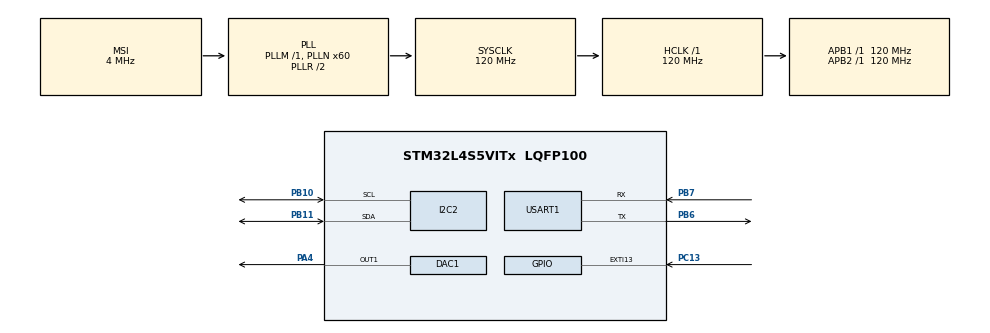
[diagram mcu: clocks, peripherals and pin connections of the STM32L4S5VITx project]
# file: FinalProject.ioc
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FREERTOS.Tasks01=defaultTask,0,128,StartDefaultTask,Default,NULL,Dynamic,NULL,NULL;myTask02,0,128,StartTask02,Default,NULL,Dynamic,NULL,NULL
I2C2.Timing=0x307075B1
Mcu.Family=STM32L4
Mcu.Name=STM32L4S5VITx
Mcu.Package=LQFP100
NVIC.EXTI15_10_IRQn=true\:5\:0\:false\:false\:true\:true\:true\:true\:true
NVIC.PriorityGroup=NVIC_PRIORITYGROUP_4
NVIC.TIM2_IRQn=true\:5\:0\:false\:false\:true\:true\:true\:true\:true
NVIC.TIM6_DAC_IRQn=true\:15\:0\:false\:false\:true\:false\:false\:true\:true
NVIC.TimeBase=TIM6_DAC_IRQn
NVIC.TimeBaseIP=TIM6
PA4.Signal=COMP_DAC11_group
PB10.Mode=I2C
PB10.Signal=I2C2_SCL
PB11.Mode=I2C
PB11.Signal=I2C2_SDA
PB6.Mode=Asynchronous
PB6.Signal=USART1_TX
PB7.Mode=Asynchronous
PB7.Signal=USART1_RX
PC13.Signal=GPXTI13
ProjectManager.HeapSize=0x200
ProjectManager.StackSize=0x400
ProjectManager.TargetToolchain=STM32CubeIDE
RCC.ADCFreq_Value=48000000
RCC.AHBFreq_Value=120000000
RCC.APB1Freq_Value=120000000
RCC.APB1TimFreq_Value=120000000
RCC.APB2Freq_Value=120000000
RCC.APB2TimFreq_Value=120000000
RCC.CortexFreq_Value=120000000
RCC.HCLKFreq_Value=120000000
RCC.HSE_VALUE=8000000
RCC.HSI48_VALUE=48000000
RCC.HSI_VALUE=16000000
RCC.LSE_VALUE=32768
RCC.MSI_VALUE=4000000
RCC.PLLN=60
RCC.PLLSAI1N=24
RCC.SYSCLKFreq_VALUE=120000000
RCC.SYSCLKSource=RCC_SYSCLKSOURCE_PLLCLK
RCC.USBFreq_Value=48000000
RCC.VCOOutputFreq_Value=240000000
SH.COMP_DAC11_group.0=DAC1_OUT1,DAC_OUT1
USART1.VirtualMode-Asynchronous=VM_ASYNC
VP_FREERTOS_VS_CMSIS_V1.Mode=CMSIS_V1
VP_OCTOSPI1_VS_quad.Mode=quad_mode
VP_SYS_VS_tim6.Mode=TIM6
VP_TIM2_VS_ClockSourceINT.Mode=Internal
board=B-L4S5I-IOT01A

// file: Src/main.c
/* USER CODE BEGIN Header */
/**
  ******************************************************************************
  * @file           : main.c
  * @brief          : Main program body
  ******************************************************************************
  * @attention
  *
  * Copyright (c) 2023 STMicroelectronics.
  * All rights reserved.
  *
  * This software is licensed under terms that can be found in the LICENSE file
  * in the root directory of this software component.
  * If no LICENSE file comes with this software, it is provided AS-IS.
  *
  ******************************************************************************
  */
/* USER CODE END Header */
#include "main.h"
#include "cmsis_os.h"

/* USER CODE BEGIN Includes */
#include "stm32l4s5i_iot01_accelero.h"
#include "stm32l4s5i_iot01_qspi.h"

#include "math.h"
#include <stdio.h>
#include <stdlib.h>
#define ARM_MATH_CM4
#include "arm_math.h"
/* USER CODE END Includes */

DAC_HandleTypeDef hdac1;

I2C_HandleTypeDef hi2c2;

OSPI_HandleTypeDef hospi1;

TIM_HandleTypeDef htim2;

UART_HandleTypeDef huart1;

osThreadId defaultTaskHandle;
osThreadId myTask02Handle;
/* USER CODE BEGIN PV */
char str_tmp[300];
int16_t accel[3];
int noteplayed = 1;

int note_selector = 3;
int sound_wave_input = 0;
int e6 = 0;
int g6 = 0;
int c6 = 0;

float array[] = {
		384.87,
		432.00,
		484.90,
		513.74, // C
		576.65,
		647.27,
		685.76,
		769.74,
		864.00,
		969.81,
		1027.47,
		1153.30,
		1294.54,
		1371.51,
		1539.47,
		1728.00,
		1939.61,
		2054.95,
		2306.60,
		2589.07,
		2743.03,
		3078.95,
		3456.00,
		3879.23,
		4109.90,
		4613.21,
		5178.15,
		5486.06
};

int volume[] = {0, 2000, 3000, 4095};
int volume_selector = 3;
/* USER CODE END PV */

void SystemClock_Config(void);
static void MX_GPIO_Init(void);
static void MX_I2C2_Init(void);
static void MX_USART1_UART_Init(void);
static void MX_DAC1_Init(void);
static void MX_TIM2_Init(void);
static void MX_OCTOSPI1_Init(void);
void StartDefaultTask(void const * argument);
void StartTask02(void const * argument);

int main(void)
{

  /* MCU Configuration--------------------------------------------------------*/

  /* Reset of all peripherals, Initializes the Flash interface and the Systick. */
  HAL_Init();

  /* Configure the system clock */
  SystemClock_Config();

  /* Initialize all configured peripherals */
  MX_GPIO_Init();
  MX_I2C2_Init();
  MX_USART1_UART_Init();
  MX_DAC1_Init();
  MX_TIM2_Init();
  MX_OCTOSPI1_Init();
  /* USER CODE BEGIN 2 */
  BSP_ACCELERO_Init();
  HAL_DAC_Start(&hdac1, DAC_CHANNEL_1);
  HAL_DAC_SetValue(&hdac1, DAC_CHANNEL_1, DAC_ALIGN_12B_R, 2000);
  HAL_TIM_Base_Start_IT(&htim2);
  BSP_QSPI_Init();
//  BSP_QSPI_EraseChip();

  /* USER CODE END 2 */

  /* Create the thread(s) */
  /* definition and creation of defaultTask */
  osThreadDef(defaultTask, StartDefaultTask, osPriorityNormal, 0, 128);
  defaultTaskHandle = osThreadCreate(osThread(defaultTask), NULL);

  /* definition and creation of myTask02 */
  osThreadDef(myTask02, StartTask02, osPriorityNormal, 0, 128);
  myTask02Handle = osThreadCreate(osThread(myTask02), NULL);

  /* Start scheduler */
  osKernelStart();

  /* We should never get here as control is now taken by the scheduler */
  /* Infinite loop */
  while (1)
  {

    /* USER CODE BEGIN 3 */
//	  int thres = 600;
//	  int delay = 500;
//
//	  int16_t accel[3];
//	  BSP_ACCELERO_AccGetXYZ(accel);
////	  sprintf(str_tmp, "%d,  %d,  %d \n \r", (int) accel[0], (int)accel[1], 1020-(int)accel[2]);
//	  if ((int) accel[0] > thres) {
//		  if (note_selector < 31){
//			  note_selector += 1;
//		  }
//		  sprintf(str_tmp, "X-RIGHT NOTE:%d \n \r", note_selector);
//		  HAL_UART_Transmit(&huart1, (uint8_t *)str_tmp, sizeof(str_tmp),10000);
//		  HAL_Delay(delay);
//	  }
//
//	  if ((int) accel[0] < -thres) {
//	  		  if (note_selector > 0){
//				note_selector -= 1;
//	  		  }
//	  		  sprintf(str_tmp, "X-LEFT NOTE:%d\n \r", note_selector);
//	  		  HAL_UART_Transmit(&huart1, (uint8_t *)str_tmp, sizeof(str_tmp),10000);
//	  		HAL_Delay(delay);
//	  	  }
//
//	  if ((int) accel[1] > thres) {
//	  		  if (note_selector + 7 < 30) {
//	  			  note_selector += 7;
//	  		  }
//	  		  sprintf(str_tmp, "Y_FOWARD NOTE:%d\n \r", note_selector);
//	  		HAL_UART_Transmit(&huart1, (uint8_t *)str_tmp, sizeof(str_tmp),10000);
//	  		HAL_Delay(delay);
//	  	  }
//	  if ((int) accel[1] < -thres) {
//	  	  		if (note_selector - 7 > 0) {
//	  	  		note_selector -= 7;
//	  	  			  		  }
//	  	  		  sprintf(str_tmp, "Y_BACK NOTE:%d\n \r", note_selector);
//	  	  		HAL_UART_Transmit(&huart1, (uint8_t *)str_tmp, sizeof(str_tmp),10000);
//	  	  	HAL_Delay(delay);
//	  	  	  }
//	  if ((int) accel[2] > 1000+thres) {
//	  		if (volume_selector < 3){
//
//	  			volume_selector += 1;
//	  				  }
//
//	  		  sprintf(str_tmp, "Z_UP NOTE:%d\n \r", volume_selector);
//	  		HAL_UART_Transmit(&huart1, (uint8_t *)str_tmp, sizeof(str_tmp),10000);
//	  		HAL_Delay(delay);
//	  	  }
//	  if ((int) accel[2] < 1000-thres) {
//		  if (volume_selector > 0){
//
//		  	  			volume_selector -= 1;
//		  	  				  }
//
//		  sprintf(str_tmp, "Z_DOWN NOTE:%d\n \r", volume_selector);
//	  	  		HAL_UART_Transmit(&huart1, (uint8_t *)str_tmp, sizeof(str_tmp),10000);
//	  	  	HAL_Delay(delay);
//	  	  	  }
//
//	  memset(str_tmp,0,sizeof(str_tmp));
//
	  HAL_Delay(10000);
  }
  /* USER CODE END 3 */
}

void SystemClock_Config(void)
{
  RCC_OscInitTypeDef RCC_OscInitStruct = {0};
  RCC_ClkInitTypeDef RCC_ClkInitStruct = {0};

  /** Configure the main internal regulator output voltage
  */
  if (HAL_PWREx_ControlVoltageScaling(PWR_REGULATOR_VOLTAGE_SCALE1_BOOST) != HAL_OK)
  {
    Error_Handler();
  }

  /** Initializes the RCC Oscillators according to the specified parameters
  * in the RCC_OscInitTypeDef structure.
  */
  RCC_OscInitStruct.OscillatorType = RCC_OSCILLATORTYPE_MSI;
  RCC_OscInitStruct.MSIState = RCC_MSI_ON;
  RCC_OscInitStruct.MSICalibrationValue = 0;
  RCC_OscInitStruct.MSIClockRange = RCC_MSIRANGE_6;
  RCC_OscInitStruct.PLL.PLLState = RCC_PLL_ON;
  RCC_OscInitStruct.PLL.PLLSource = RCC_PLLSOURCE_MSI;
  RCC_OscInitStruct.PLL.PLLM = 1;
  RCC_OscInitStruct.PLL.PLLN = 60;
  RCC_OscInitStruct.PLL.PLLP = RCC_PLLP_DIV2;
  RCC_OscInitStruct.PLL.PLLQ = RCC_PLLQ_DIV2;
  RCC_OscInitStruct.PLL.PLLR = RCC_PLLR_DIV2;
  if (HAL_RCC_OscConfig(&RCC_OscInitStruct) != HAL_OK)
  {
    Error_Handler();
  }

  /** Initializes the CPU, AHB and APB buses clocks
  */
  RCC_ClkInitStruct.ClockType = RCC_CLOCKTYPE_HCLK|RCC_CLOCKTYPE_SYSCLK
                              |RCC_CLOCKTYPE_PCLK1|RCC_CLOCKTYPE_PCLK2;
  RCC_ClkInitStruct.SYSCLKSource = RCC_SYSCLKSOURCE_PLLCLK;
  RCC_ClkInitStruct.AHBCLKDivider = RCC_SYSCLK_DIV1;
  RCC_ClkInitStruct.APB1CLKDivider = RCC_HCLK_DIV1;
  RCC_ClkInitStruct.APB2CLKDivider = RCC_HCLK_DIV1;

  if (HAL_RCC_ClockConfig(&RCC_ClkInitStruct, FLASH_LATENCY_5) != HAL_OK)
  {
    Error_Handler();
  }
}

static void MX_DAC1_Init(void)
{

  DAC_ChannelConfTypeDef sConfig = {0};

  /** DAC Initialization
  */
  hdac1.Instance = DAC1;
  if (HAL_DAC_Init(&hdac1) != HAL_OK)
  {
    Error_Handler();
  }

  /** DAC channel OUT1 config
  */
  sConfig.DAC_SampleAndHold = DAC_SAMPLEANDHOLD_DISABLE;
  sConfig.DAC_Trigger = DAC_TRIGGER_NONE;
  sConfig.DAC_HighFrequency = DAC_HIGH_FREQUENCY_INTERFACE_MODE_ABOVE_80MHZ;
  sConfig.DAC_OutputBuffer = DAC_OUTPUTBUFFER_ENABLE;
  sConfig.DAC_ConnectOnChipPeripheral = DAC_CHIPCONNECT_DISABLE;
  sConfig.DAC_UserTrimming = DAC_TRIMMING_FACTORY;
  if (HAL_DAC_ConfigChannel(&hdac1, &sConfig, DAC_CHANNEL_1) != HAL_OK)
  {
    Error_Handler();
  }

}

static void MX_I2C2_Init(void)
{

  hi2c2.Instance = I2C2;
  hi2c2.Init.Timing = 0x307075B1;
  hi2c2.Init.OwnAddress1 = 0;
  hi2c2.Init.AddressingMode = I2C_ADDRESSINGMODE_7BIT;
  hi2c2.Init.DualAddressMode = I2C_DUALADDRESS_DISABLE;
  hi2c2.Init.OwnAddress2 = 0;
  hi2c2.Init.OwnAddress2Masks = I2C_OA2_NOMASK;
  hi2c2.Init.GeneralCallMode = I2C_GENERALCALL_DISABLE;
  hi2c2.Init.NoStretchMode = I2C_NOSTRETCH_DISABLE;
  if (HAL_I2C_Init(&hi2c2) != HAL_OK)
  {
    Error_Handler();
  }

  /** Configure Analogue filter
  */
  if (HAL_I2CEx_ConfigAnalogFilter(&hi2c2, I2C_ANALOGFILTER_ENABLE) != HAL_OK)
  {
    Error_Handler();
  }

  /** Configure Digital filter
  */
  if (HAL_I2CEx_ConfigDigitalFilter(&hi2c2, 0) != HAL_OK)
  {
    Error_Handler();
  }

}

static void MX_OCTOSPI1_Init(void)
{

  /* OCTOSPI1 parameter configuration*/
  hospi1.Instance = OCTOSPI1;
  hospi1.Init.FifoThreshold = 1;
  hospi1.Init.DualQuad = HAL_OSPI_DUALQUAD_DISABLE;
  hospi1.Init.MemoryType = HAL_OSPI_MEMTYPE_MICRON;
  hospi1.Init.DeviceSize = 32;
  hospi1.Init.ChipSelectHighTime = 1;
  hospi1.Init.FreeRunningClock = HAL_OSPI_FREERUNCLK_DISABLE;
  hospi1.Init.ClockMode = HAL_OSPI_CLOCK_MODE_0;
  hospi1.Init.ClockPrescaler = 1;
  hospi1.Init.SampleShifting = HAL_OSPI_SAMPLE_SHIFTING_NONE;
  hospi1.Init.DelayHoldQuarterCycle = HAL_OSPI_DHQC_DISABLE;
  hospi1.Init.ChipSelectBoundary = 0;
  hospi1.Init.DelayBlockBypass = HAL_OSPI_DELAY_BLOCK_BYPASSED;
  if (HAL_OSPI_Init(&hospi1) != HAL_OK)
  {
    Error_Handler();
  }

}

static void MX_TIM2_Init(void)
{

  TIM_ClockConfigTypeDef sClockSourceConfig = {0};
  TIM_MasterConfigTypeDef sMasterConfig = {0};

  htim2.Instance = TIM2;
  htim2.Init.Prescaler = 0;
  htim2.Init.CounterMode = TIM_COUNTERMODE_UP;
  htim2.Init.Period = 4294967295;
  htim2.Init.ClockDivision = TIM_CLOCKDIVISION_DIV1;
  htim2.Init.AutoReloadPreload = TIM_AUTORELOAD_PRELOAD_DISABLE;
  if (HAL_TIM_Base_Init(&htim2) != HAL_OK)
  {
    Error_Handler();
  }
  sClockSourceConfig.ClockSource = TIM_CLOCKSOURCE_INTERNAL;
  if (HAL_TIM_ConfigClockSource(&htim2, &sClockSourceConfig) != HAL_OK)
  {
    Error_Handler();
  }
  sMasterConfig.MasterOutputTrigger = TIM_TRGO_RESET;
  sMasterConfig.MasterSlaveMode = TIM_MASTERSLAVEMODE_DISABLE;
  if (HAL_TIMEx_MasterConfigSynchronization(&htim2, &sMasterConfig) != HAL_OK)
  {
    Error_Handler();
  }

}

static void MX_USART1_UART_Init(void)
{

  huart1.Instance = USART1;
  huart1.Init.BaudRate = 115200;
  huart1.Init.WordLength = UART_WORDLENGTH_8B;
  huart1.Init.StopBits = UART_STOPBITS_1;
  huart1.Init.Parity = UART_PARITY_NONE;
  huart1.Init.Mode = UART_MODE_TX_RX;
  huart1.Init.HwFlowCtl = UART_HWCONTROL_NONE;
  huart1.Init.OverSampling = UART_OVERSAMPLING_16;
  huart1.Init.OneBitSampling = UART_ONE_BIT_SAMPLE_DISABLE;
  huart1.Init.ClockPrescaler = UART_PRESCALER_DIV1;
  huart1.AdvancedInit.AdvFeatureInit = UART_ADVFEATURE_NO_INIT;
  if (HAL_UART_Init(&huart1) != HAL_OK)
  {
    Error_Handler();
  }
  if (HAL_UARTEx_SetTxFifoThreshold(&huart1, UART_TXFIFO_THRESHOLD_1_8) != HAL_OK)
  {
    Error_Handler();
  }
  if (HAL_UARTEx_SetRxFifoThreshold(&huart1, UART_RXFIFO_THRESHOLD_1_8) != HAL_OK)
  {
    Error_Handler();
  }
  if (HAL_UARTEx_DisableFifoMode(&huart1) != HAL_OK)
  {
    Error_Handler();
  }

}

static void MX_GPIO_Init(void)
{
  GPIO_InitTypeDef GPIO_InitStruct = {0};

  /* GPIO Ports Clock Enable */
  __HAL_RCC_GPIOC_CLK_ENABLE();
  __HAL_RCC_GPIOA_CLK_ENABLE();
  __HAL_RCC_GPIOB_CLK_ENABLE();

  /*Configure GPIO pin : PC13 */
  GPIO_InitStruct.Pin = GPIO_PIN_13;
  GPIO_InitStruct.Mode = GPIO_MODE_IT_RISING;
  GPIO_InitStruct.Pull = GPIO_NOPULL;
  HAL_GPIO_Init(GPIOC, &GPIO_InitStruct);

  /* EXTI interrupt init*/
  HAL_NVIC_SetPriority(EXTI15_10_IRQn, 5, 0);
  HAL_NVIC_EnableIRQ(EXTI15_10_IRQn);

}

/* USER CODE BEGIN 4 */

void HAL_GPIO_EXTI_Callback(uint16_t GPIO_Pin){
//	if (BSP_QSPI_Read((uint8_t *) tone, toneAddr, toneSamples) != QSPI_OK) {
//		Error_Handler();
//	}
	sprintf(str_tmp, "button\r\n");
	HAL_UART_Transmit(&huart1, (uint8_t *)str_tmp, sizeof(str_tmp),10000);
	memset(str_tmp,0,sizeof(str_tmp));
	uint8_t pData[100];
	pData[0] = 6;
	uint32_t WriteAddr;
	uint32_t Size = 100;
//	int result = BSP_QSPI_Write(pData, 0, Size);
	if (BSP_QSPI_Write(pData, 0, Size) != QSPI_OK) {
			Error_Handler();
		}
	pData[0] = 0;
	int stat = BSP_QSPI_Read(pData, 0, Size);

	int i = 0;

}

/* USER CODE END 4 */

void StartDefaultTask(void const * argument)
{
  /* USER CODE BEGIN 5 */
  /* Infinite loop */
  for(;;)
  {
    osDelay(1);
	BSP_ACCELERO_AccGetXYZ(accel);
  }
  /* USER CODE END 5 */
}

void StartTask02(void const * argument)
{
  /* USER CODE BEGIN StartTask02 */
  /* Infinite loop */
  for(;;)
  {
    osDelay(1);
    int thres = 600;
    int delay = 500;

//   	  sprintf(str_tmp, "%d,  %d,  %d \n \r", (int) accel[0], (int)accel[1], (int)accel[2]);
//   	HAL_UART_Transmit(&huart1, (uint8_t *)str_tmp, sizeof(str_tmp),10000);

    if ((int) accel[0] > thres) {
    	if (note_selector < 27){
   			  note_selector += 1;
   		  }
   		  sprintf(str_tmp, "X-RIGHT NOTE:%d \n \r", note_selector);
   		  HAL_UART_Transmit(&huart1, (uint8_t *)str_tmp, sizeof(str_tmp),10000);
//   		  noteplayed = 1;
   		osDelay(delay);
   	  }

   	  if ((int) accel[0] < -thres) {
   		  if (note_selector > 0){
   				note_selector -= 1;
   	  		  }
   	  		  sprintf(str_tmp, "X-LEFT NOTE:%d\n \r", note_selector);
   	  		  HAL_UART_Transmit(&huart1, (uint8_t *)str_tmp, sizeof(str_tmp),10000);
//   	  		noteplayed = 1;
   	  	osDelay(delay);
   	  }

   	  if ((int) accel[1] > thres) {
   	  		  if (note_selector + 7 < 27) {
   	  			  note_selector += 7;
   	  		  }
   	  		  sprintf(str_tmp, "Y_FOWARD NOTE:%d\n \r", note_selector);
   	  		HAL_UART_Transmit(&huart1, (uint8_t *)str_tmp, sizeof(str_tmp),10000);
//   	  	noteplayed = 1;
   	    osDelay(delay);
   	  }

   	  if ((int) accel[1] < -thres) {
   	  	  		if (note_selector - 7 > 0) {
   	  	  		note_selector -= 7;
   	  	  		}
   	  	  		sprintf(str_tmp, "Y_BACK NOTE:%d\n \r", note_selector);
   	  	  		HAL_UART_Transmit(&huart1, (uint8_t *)str_tmp, sizeof(str_tmp),10000);
//   	  	  	noteplayed = 1;
   	  	osDelay(delay);
   	  }

   	  if ((int) accel[2] > 1000+thres) {
   	  		if (volume_selector < 3){

   	  			volume_selector += 1;
   	  		}

   	  		sprintf(str_tmp, "Z_UP NOTE:%d\n \r", volume_selector);
   	  		HAL_UART_Transmit(&huart1, (uint8_t *)str_tmp, sizeof(str_tmp),10000);
//   	  	noteplayed = 1;
   	    osDelay(delay);
   	  }

   	  if ((int) accel[2] < 1000-thres) {
   		  if (volume_selector > 0){

   			  volume_selector -= 1;
   		  }

   		  sprintf(str_tmp, "Z_DOWN NOTE:%d\n \r", volume_selector);
   	  	  HAL_UART_Transmit(&huart1, (uint8_t *)str_tmp, sizeof(str_tmp),10000);
   	  	  noteplayed = 1; // DO NOT REMOVE THIS LINE OF CODE
   	  osDelay(delay);
   	  }
//   	noteplayed = 1;
   	  memset(str_tmp,0,sizeof(str_tmp));
//   	accel[0] = 0;accel[1] = 0;accel[2] = 1000;

  }
  /* USER CODE END StartTask02 */
}

void HAL_TIM_PeriodElapsedCallback(TIM_HandleTypeDef *htim)
{
  if (htim->Instance == TIM6) {
    HAL_IncTick();
  }
  /* USER CODE BEGIN Callback 1 */
  if (htim->Instance == TIM2){
  //		HAL_IncTick();

  		float x = M_PI /20 * sound_wave_input * array[note_selector]/1000;
  		float e6 = arm_sin_f32(x) + 1;
  		HAL_DAC_SetValue(&hdac1, DAC_CHANNEL_1, DAC_ALIGN_12B_R, e6*volume[volume_selector]/(2)); // 2^resolution / peak value  = 2^12/15
  		sound_wave_input++;

  	}

  /* USER CODE END Callback 1 */
}

void Error_Handler(void)
{
  __disable_irq();
  while (1)
  {
  }
}
